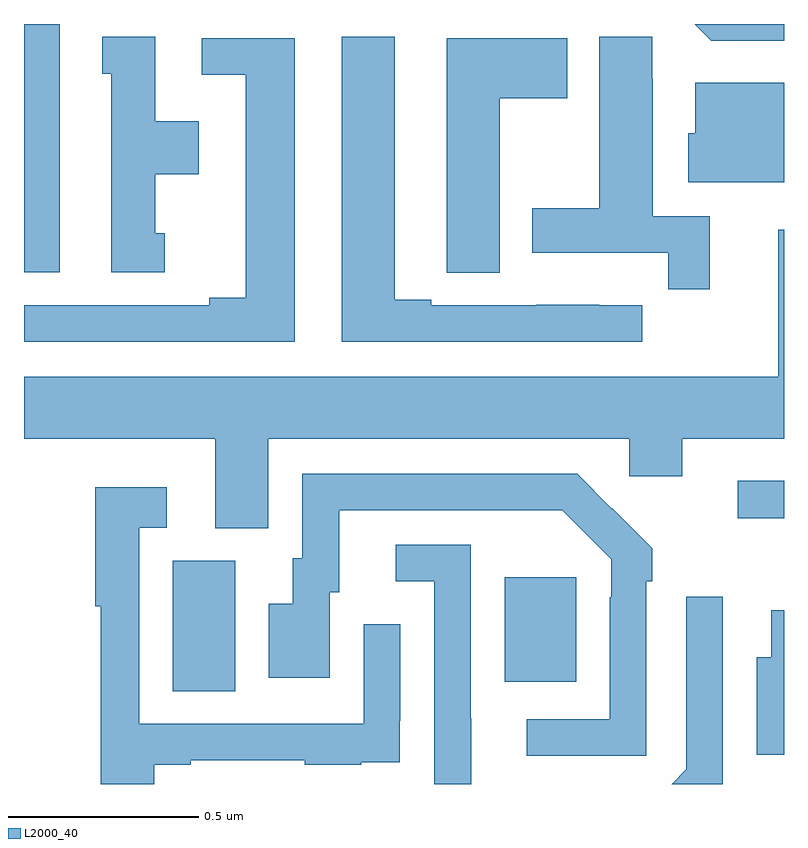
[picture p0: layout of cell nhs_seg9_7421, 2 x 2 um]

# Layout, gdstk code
import gdstk
lib = gdstk.Library(unit=1e-6, precision=1e-09)
def R(c, l, rs):  # rectangles x0, y0, x1, y1
    for r in rs: c.add(gdstk.rectangle(r[:2], r[2:], *l))
def P(c, l, *ps):  # polygons
    for p in ps: c.add(gdstk.Polygon(p, *l))
L2000_40 = (2000, 40)

nhs_seg9_7421 = lib.new_cell('nhs_seg9_7421')
R(nhs_seg9_7421, L2000_40, [(204.392,1207.744,204.556,1208.088), (205.265,1207.769,205.453,1208.044), (205.878,1208.2,206,1208.298), (204,1208.847,204.094,1209.5)])
P(nhs_seg9_7421, L2000_40, [(206,1209.5),(205.765,1209.5),(205.809,1209.456),(206,1209.456)],
  [(204.37,1208.949),(204.346,1208.949),(204.346,1209.104),(204.46,1209.104),(204.46,1209.244),(204.346,1209.244),(204.346,1209.467),(204.206,1209.467),(204.206,1209.369),(204.23,1209.369),(204.23,1208.847),(204.37,1208.847)],
  [(205.805,1208.994),(205.654,1208.994),(205.654,1209.356),(205.653,1209.356),(205.653,1209.467),(205.514,1209.467),(205.514,1209.015),(205.337,1209.015),(205.337,1208.898),(205.696,1208.898),(205.696,1208.802),(205.805,1208.802)],
  [(205.627,1208.76),(205.514,1208.76),(205.514,1208.761),(205.348,1208.761),(205.348,1208.76),(205.072,1208.76),(205.072,1208.775),(204.976,1208.775),(204.976,1209.467),(204.836,1209.467),(204.836,1208.664),(205.627,1208.664)],
  [(205.252,1209.304),(205.429,1209.304),(205.429,1209.463),(205.112,1209.463),(205.112,1208.953),(205.113,1208.953),(205.113,1208.845),(205.252,1208.845)],
  [(204.712,1209.462),(204.468,1209.462),(204.468,1209.366),(204.584,1209.366),(204.584,1208.78),(204.488,1208.78),(204.488,1208.76),(204,1208.76),(204,1208.664),(204.712,1208.664)],
  [(206,1209.346),(205.766,1209.346),(205.766,1209.213),(205.748,1209.213),(205.748,1209.083),(206,1209.083)],
  [(204.643,1208.408),(205.593,1208.408),(205.593,1208.31),(205.732,1208.31),(205.732,1208.408),(206,1208.408),(206,1208.959),(205.985,1208.959),(205.985,1208.572),(204,1208.572),(204,1208.408),(204.503,1208.408),(204.503,1208.173),(204.643,1208.173)],
  [(205.638,1208.033),(205.653,1208.033),(205.653,1208.121),(205.548,1208.226),(205.547,1208.225),(205.456,1208.316),(204.732,1208.316),(204.732,1208.094),(204.707,1208.094),(204.707,1207.975),(204.644,1207.975),(204.644,1207.779),(204.805,1207.779),(204.805,1208.004),(204.829,1208.004),(204.829,1208.22),(205.417,1208.22),(205.545,1208.091),(205.545,1207.991),(205.542,1207.991),(205.542,1207.671),(205.323,1207.671),(205.323,1207.575),(205.638,1207.575)],
  [(204.343,1207.551),(204.439,1207.551),(204.439,1207.563),(204.739,1207.563),(204.739,1207.551),(204.887,1207.551),(204.887,1207.557),(204.989,1207.557),(204.989,1207.666),(204.99,1207.666),(204.99,1207.921),(204.894,1207.921),(204.894,1207.659),(204.303,1207.659),(204.303,1208.175),(204.376,1208.175),(204.376,1208.281),(204.187,1208.281),(204.187,1207.968),(204.202,1207.968),(204.202,1207.5),(204.343,1207.5)],
  [(205.177,1207.673),(205.176,1207.673),(205.176,1208.13),(204.978,1208.13),(204.978,1208.034),(205.08,1208.034),(205.08,1207.5),(205.177,1207.5)],
  [(205.839,1207.993),(205.743,1207.993),(205.743,1207.539),(205.704,1207.5),(205.839,1207.5)],
  [(206,1207.957),(205.967,1207.957),(205.967,1207.834),(205.928,1207.834),(205.928,1207.577),(206,1207.577)])

lib.write_gds('nhs_seg9_7421.gds')
